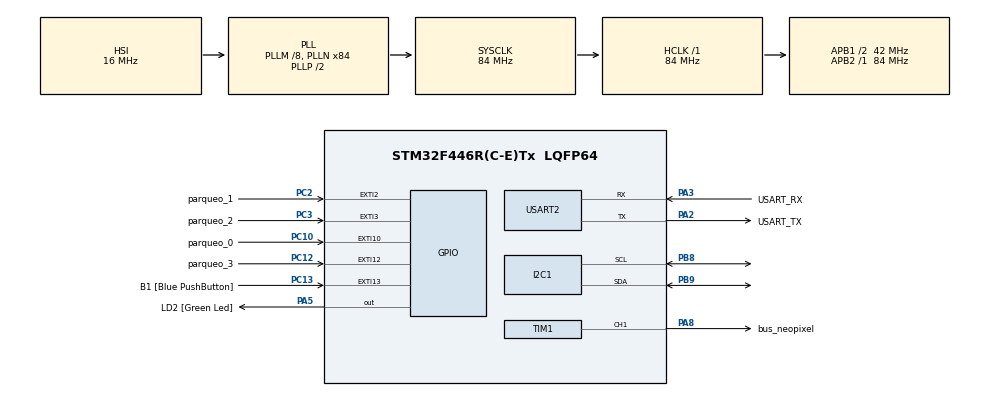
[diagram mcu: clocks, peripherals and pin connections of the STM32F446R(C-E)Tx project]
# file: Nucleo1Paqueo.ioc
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Dma.Request0=TIM1_CH1
Dma.TIM1_CH1.0.Direction=DMA_MEMORY_TO_PERIPH
Dma.TIM1_CH1.0.FIFOMode=DMA_FIFOMODE_DISABLE
Dma.TIM1_CH1.0.Instance=DMA2_Stream1
Dma.TIM1_CH1.0.MemDataAlignment=DMA_MDATAALIGN_HALFWORD
Dma.TIM1_CH1.0.MemInc=DMA_MINC_ENABLE
Dma.TIM1_CH1.0.Mode=DMA_NORMAL
Dma.TIM1_CH1.0.PeriphDataAlignment=DMA_PDATAALIGN_HALFWORD
Dma.TIM1_CH1.0.PeriphInc=DMA_PINC_DISABLE
Dma.TIM1_CH1.0.Priority=DMA_PRIORITY_LOW
I2C1.DualAddressMode=I2C_DUALADDRESS_DISABLE
I2C1.OwnAddress=0x18
IWDG.Prescaler=IWDG_PRESCALER_64
Mcu.Family=STM32F4
Mcu.Name=STM32F446R(C-E)Tx
Mcu.Package=LQFP64
NVIC.DMA2_Stream1_IRQn=true\:0\:0\:false\:false\:true\:false\:true\:true
NVIC.EXTI15_10_IRQn=true\:0\:0\:false\:false\:true\:true\:true\:true
NVIC.EXTI2_IRQn=true\:0\:0\:false\:false\:true\:true\:true\:true
NVIC.EXTI3_IRQn=true\:0\:0\:false\:false\:true\:true\:true\:true
NVIC.I2C1_ER_IRQn=true\:0\:0\:false\:false\:true\:true\:true\:true
NVIC.I2C1_EV_IRQn=true\:0\:0\:false\:false\:true\:true\:true\:true
NVIC.PriorityGroup=NVIC_PRIORITYGROUP_0
PA13.GPIO_Label=TMS
PA13.Mode=Serial_Wire
PA13.Signal=SYS_JTMS-SWDIO
PA14.GPIO_Label=TCK
PA14.Mode=Serial_Wire
PA14.Signal=SYS_JTCK-SWCLK
PA2.GPIO_Label=USART_TX
PA2.Mode=Asynchronous
PA2.Signal=USART2_TX
PA3.GPIO_Label=USART_RX
PA3.Mode=Asynchronous
PA3.Signal=USART2_RX
PA5.GPIO_Label=LD2 [Green Led]
PA5.Signal=GPIO_Output
PA8.GPIO_Label=bus_neopixel
PA8.Signal=S_TIM1_CH1
PB3.GPIO_Label=SWO
PB3.Signal=SYS_JTDO-SWO
PB8.GPIO_Pu=GPIO_NOPULL
PB8.Mode=I2C
PB8.Signal=I2C1_SCL
PB9.GPIO_Pu=GPIO_NOPULL
PB9.Mode=I2C
PB9.Signal=I2C1_SDA
PC10.GPIO_Label=parqueo_0
PC10.GPIO_ModeDefaultEXTI=GPIO_MODE_IT_RISING_FALLING
PC10.Signal=GPXTI10
PC12.GPIO_Label=parqueo_3
PC12.GPIO_ModeDefaultEXTI=GPIO_MODE_IT_RISING_FALLING
PC12.Signal=GPXTI12
PC13.GPIO_Label=B1 [Blue PushButton]
PC13.GPIO_ModeDefaultEXTI=GPIO_MODE_IT_FALLING
PC13.Signal=GPXTI13
PC14-OSC32_IN.Mode=LSE-External-Oscillator
PC14-OSC32_IN.Signal=RCC_OSC32_IN
PC15-OSC32_OUT.Mode=LSE-External-Oscillator
PC15-OSC32_OUT.Signal=RCC_OSC32_OUT
PC2.GPIO_Label=parqueo_1
PC2.GPIO_ModeDefaultEXTI=GPIO_MODE_IT_RISING_FALLING
PC2.Signal=GPXTI2
PC3.GPIO_Label=parqueo_2
PC3.GPIO_ModeDefaultEXTI=GPIO_MODE_IT_RISING_FALLING
PC3.Signal=GPXTI3
PH0-OSC_IN.Mode=HSE-External-Oscillator
PH0-OSC_IN.Signal=RCC_OSC_IN
PH1-OSC_OUT.Mode=HSE-External-Oscillator
PH1-OSC_OUT.Signal=RCC_OSC_OUT
ProjectManager.HeapSize=0x200
ProjectManager.StackSize=0x400
ProjectManager.TargetToolchain=STM32CubeIDE
RCC.48MHZClocksFreq_Value=84000000
RCC.AHBFreq_Value=84000000
RCC.APB1CLKDivider=RCC_HCLK_DIV2
RCC.APB1Freq_Value=42000000
RCC.APB1TimFreq_Value=84000000
RCC.APB2Freq_Value=84000000
RCC.APB2TimFreq_Value=84000000
RCC.CortexFreq_Value=84000000
RCC.FLatency-AdvancedSettings=FLASH_LATENCY_2
RCC.HCLKFreq_Value=84000000
RCC.HSE_VALUE=8000000
RCC.HSI_VALUE=16000000
RCC.PLLM=8
RCC.PLLN=84
RCC.SYSCLKFreq_VALUE=84000000
RCC.SYSCLKSource=RCC_SYSCLKSOURCE_PLLCLK
RCC.USBFreq_Value=84000000
RCC.VCOOutputFreq_Value=168000000
SH.S_TIM1_CH1.0=TIM1_CH1,PWM Generation1 CH1
TIM1.Channel-PWM\ Generation1\ CH1=TIM_CHANNEL_1
TIM1.Period=104
USART2.VirtualMode=VM_ASYNC
VP_IWDG_VS_IWDG.Mode=IWDG_Activate
VP_TIM1_VS_ClockSourceINT.Mode=Internal
board=NUCLEO-F446RE

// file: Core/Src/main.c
/* USER CODE BEGIN Header */
	/**
	  ******************************************************************************
	  * @file           : main.c
	  * @brief          : Main program body
	  ******************************************************************************
	  * @attention
	  *
	  * Copyright (c) 2026 STMicroelectronics.
	  * All rights reserved.
	  *
	  * This software is licensed under terms that can be found in the LICENSE file
	  * in the root directory of this software component.
	  * If no LICENSE file comes with this software, it is provided AS-IS.
	  *
	  ******************************************************************************
	  */
/* USER CODE END Header */
#include "main.h"

/* USER CODE BEGIN Includes */
#include "NeoPixel.h"
#include <string.h>

/* USER CODE END Includes */

/* USER CODE BEGIN PD */
#define TXbuffersize 4
#define RXbuffersize 4
#define I2C_TIMEOUT_MS 5000
/* USER CODE END PD */

I2C_HandleTypeDef hi2c1;

IWDG_HandleTypeDef hiwdg;

TIM_HandleTypeDef htim1;
DMA_HandleTypeDef hdma_tim1_ch1;

UART_HandleTypeDef huart2;

/* USER CODE BEGIN PV */
//Variables de Neopixeles
float brillo_led;
volatile uint8_t flagSensor=0;
volatile uint8_t flagSensor_ESP32=0;
uint8_t RGB1[3];
uint8_t RGB2[3];
uint8_t RGB3[3];
uint8_t RGB4[3];

//Variables de I2C
int count=0;
uint8_t aTxBuffer[TXbuffersize];
uint8_t aRxBuffer[RXbuffersize];
//Variables de watchdog timmer para reiniciar comunicacion I2C
volatile uint32_t i2c_last_activity = 0;
volatile uint8_t i2c_error_flag = 0;

/* USER CODE END PV */

void SystemClock_Config(void);
static void MX_GPIO_Init(void);
static void MX_DMA_Init(void);
static void MX_USART2_UART_Init(void);
static void MX_I2C1_Init(void);
static void MX_TIM1_Init(void);
static void MX_IWDG_Init(void);
/* USER CODE BEGIN PFP */
void update_neopixels();
void update_colors(uint8_t flagSensor, uint8_t RGB[2],uint8_t compare);
void update_park(uint8_t flagSensor);
/* USER CODE END PFP */

/* USER CODE BEGIN 0 */

//Funcion que actualiza los neopixeles a utilizar (si se añade otro neopixel crear una nueva lista,
//modificar el valor en la libreria y agregarlo acá.
void update_neopixels(){
	pixelClear();
	setPixelColor(0, RGB1[0], RGB1[1],RGB1[2]);
	setPixelColor(1, RGB2[0], RGB2[1],RGB2[2]);
	setPixelColor(2, RGB3[0], RGB3[1],RGB3[2]);
	setPixelColor(3, RGB4[0], RGB4[1],RGB4[2]);
	setBrightness(70);
	pixelShow();
}
/*
//Esta funcion es para facilitar el cambio de color en base a flags
void update_colors(uint8_t flagSensor, uint8_t RGB[3],uint8_t compare){
	if ((flagSensor & compare) == compare){
		  RGB[1]=0;
		  RGB[0]=255;
	  }
	  else if ((flagSensor & (compare<<4)) == (compare<<4)){
		  RGB[0]=0;
		  RGB[1]=255;
	  }
}

void update_park(uint8_t flagSensor){
	update_colors(flagSensor, RGB1,0x01);
	update_colors(flagSensor, RGB2,0x02);
	update_colors(flagSensor, RGB3,0x04);
	update_colors(flagSensor, RGB4,0x08);
}*/
/* USER CODE END 0 */

int main(void)
{

  /* USER CODE BEGIN 1 */
		// Forzar reset completo del I2C1 antes de inicializar

  /* USER CODE END 1 */

  /* MCU Configuration--------------------------------------------------------*/

  /* Reset of all peripherals, Initializes the Flash interface and the Systick. */
  HAL_Init();

  /* Configure the system clock */
  SystemClock_Config();

  /* Initialize all configured peripherals */
  MX_GPIO_Init();
  MX_DMA_Init();
  MX_USART2_UART_Init();
  MX_I2C1_Init();
  MX_TIM1_Init();
  MX_IWDG_Init();
  /* USER CODE BEGIN 2 */
  // Detectar si el reset fue causado por el IWDG
  if (__HAL_RCC_GET_FLAG(RCC_FLAG_IWDGRST)){
      __HAL_RCC_CLEAR_RESET_FLAGS();
      HAL_UART_Transmit(&huart2,
          (uint8_t*)"Reset por IWDG - I2C recuperado\r\n", 33, 100);
  }

  RGB1[1]=255;
  RGB2[1]=255;
  RGB3[1]=255;
  RGB4[1]=255;

  if (HAL_I2C_EnableListen_IT(&hi2c1) != HAL_OK){
	  Error_Handler();
  }

  update_neopixels();
  //HAL_GPIO_TogglePin(GPIOC, GPIO_PIN_12);
  //HAL_GPIO_TogglePin(GPIOC, GPIO_PIN_3);
  HAL_UART_Transmit(&huart2, (uint8_t*)"Estoy vivo\r\n", 12, 100);
  /* USER CODE END 2 */

  /* Infinite loop */
  /* USER CODE BEGIN WHILE */
  while (1)
  {

	  // Alimentar el IWDG — si el programa se congela,
	  // esto deja de ejecutarse y el IWDG resetea la Nucleo
	  HAL_IWDG_Refresh(&hiwdg);

	  // Si hay un error en el i2c reinciara y se ejecutara esta instrucción.
	  if (i2c_error_flag){
		  i2c_error_flag = 0;
		  // Azul = error detectado
		  RGB1[2]=255; RGB1[0]=0; RGB1[1]=0;
		  RGB2[2]=255; RGB2[0]=0; RGB2[1]=0;
		  RGB3[2]=255; RGB3[0]=0; RGB3[1]=0;
		  RGB4[2]=255; RGB4[0]=0; RGB4[1]=0;
		  update_neopixels();
		  HAL_Delay(500);
		  // Volver a verde
		  RGB1[2]=0; RGB1[1]=255; RGB1[0]=0;
		  RGB2[2]=0; RGB2[1]=255; RGB2[0]=0;
		  RGB3[2]=0; RGB3[1]=255; RGB3[0]=0;
		  RGB4[2]=0; RGB4[1]=255; RGB4[0]=0;
		  update_neopixels();
		  HAL_UART_Transmit(&huart2,
				(uint8_t*)"I2C Error recuperado\r\n", 22, 100);
		}

	  //Actualizar los colores de los neopixeles.
	  update_park(flagSensor);
	  if (flagSensor != 0){
		update_neopixels();
		flagSensor=0;
	  }

	  // Watchdog I2C Segunda contramedida para revivir comunicacion I2C
	  if (i2c_last_activity != 0 &&
	     (HAL_GetTick() - i2c_last_activity) > I2C_TIMEOUT_MS){
		  HAL_UART_Transmit(&huart2, (uint8_t*)"Watchdog I2C activado\r\n", 23, 100);
		  i2c_last_activity = HAL_GetTick();
		  // Reiniciar el I2C si lleva más de 5s sin actividad
		  HAL_I2C_DeInit(&hi2c1);
		  HAL_Delay(10);
		  HAL_I2C_Init(&hi2c1);
		  HAL_I2C_EnableListen_IT(&hi2c1);
	  }

	  HAL_Delay(10);
    /* USER CODE END WHILE */

  }
}

void SystemClock_Config(void)
{
  RCC_OscInitTypeDef RCC_OscInitStruct = {0};
  RCC_ClkInitTypeDef RCC_ClkInitStruct = {0};

  /** Configure the main internal regulator output voltage
  */
  __HAL_RCC_PWR_CLK_ENABLE();
  __HAL_PWR_VOLTAGESCALING_CONFIG(PWR_REGULATOR_VOLTAGE_SCALE3);

  /** Initializes the RCC Oscillators according to the specified parameters
  * in the RCC_OscInitTypeDef structure.
  */
  RCC_OscInitStruct.OscillatorType = RCC_OSCILLATORTYPE_HSI|RCC_OSCILLATORTYPE_LSI;
  RCC_OscInitStruct.HSIState = RCC_HSI_ON;
  RCC_OscInitStruct.HSICalibrationValue = RCC_HSICALIBRATION_DEFAULT;
  RCC_OscInitStruct.LSIState = RCC_LSI_ON;
  RCC_OscInitStruct.PLL.PLLState = RCC_PLL_ON;
  RCC_OscInitStruct.PLL.PLLSource = RCC_PLLSOURCE_HSI;
  RCC_OscInitStruct.PLL.PLLM = 8;
  RCC_OscInitStruct.PLL.PLLN = 84;
  RCC_OscInitStruct.PLL.PLLP = RCC_PLLP_DIV2;
  RCC_OscInitStruct.PLL.PLLQ = 2;
  RCC_OscInitStruct.PLL.PLLR = 2;
  if (HAL_RCC_OscConfig(&RCC_OscInitStruct) != HAL_OK)
  {
    Error_Handler();
  }

  /** Initializes the CPU, AHB and APB buses clocks
  */
  RCC_ClkInitStruct.ClockType = RCC_CLOCKTYPE_HCLK|RCC_CLOCKTYPE_SYSCLK
                              |RCC_CLOCKTYPE_PCLK1|RCC_CLOCKTYPE_PCLK2;
  RCC_ClkInitStruct.SYSCLKSource = RCC_SYSCLKSOURCE_PLLCLK;
  RCC_ClkInitStruct.AHBCLKDivider = RCC_SYSCLK_DIV1;
  RCC_ClkInitStruct.APB1CLKDivider = RCC_HCLK_DIV2;
  RCC_ClkInitStruct.APB2CLKDivider = RCC_HCLK_DIV1;

  if (HAL_RCC_ClockConfig(&RCC_ClkInitStruct, FLASH_LATENCY_2) != HAL_OK)
  {
    Error_Handler();
  }
}

static void MX_I2C1_Init(void)
{

  /* USER CODE BEGIN I2C1_Init 1 */
  //Tercera contramedida para el SDA Y SCL low
	// Recuperación del bus: generar hasta 9 pulsos de SCL si SDA está en LOW
	GPIO_InitTypeDef GPIO_InitStruct = {0};

	// Configurar PB8 (SCL) y PB9 (SDA) como GPIO output temporalmente
	GPIO_InitStruct.Pin = GPIO_PIN_8 | GPIO_PIN_9;
	GPIO_InitStruct.Mode = GPIO_MODE_OUTPUT_OD;  // Open-drain igual que I2C
	GPIO_InitStruct.Pull = GPIO_NOPULL;
	GPIO_InitStruct.Speed = GPIO_SPEED_FREQ_LOW;
	HAL_GPIO_Init(GPIOB, &GPIO_InitStruct);

	HAL_GPIO_WritePin(GPIOB, GPIO_PIN_8, GPIO_PIN_SET);  // SCL high
	HAL_GPIO_WritePin(GPIOB, GPIO_PIN_9, GPIO_PIN_SET);  // SDA high

	// Si SDA está en LOW, generar pulsos de SCL
	if (HAL_GPIO_ReadPin(GPIOB, GPIO_PIN_9) == GPIO_PIN_RESET){
		for (int i = 0; i < 9; i++){
			HAL_GPIO_WritePin(GPIOB, GPIO_PIN_8, GPIO_PIN_RESET);
			HAL_Delay(1);
			HAL_GPIO_WritePin(GPIOB, GPIO_PIN_8, GPIO_PIN_SET);
			HAL_Delay(1);
		}
	}

	// Generar condición STOP manual
	HAL_GPIO_WritePin(GPIOB, GPIO_PIN_9, GPIO_PIN_RESET);
	HAL_Delay(1);
	HAL_GPIO_WritePin(GPIOB, GPIO_PIN_9, GPIO_PIN_SET);
	HAL_Delay(1);
  /* USER CODE END I2C1_Init 1 */
  hi2c1.Instance = I2C1;
  hi2c1.Init.ClockSpeed = 100000;
  hi2c1.Init.DutyCycle = I2C_DUTYCYCLE_2;
  hi2c1.Init.OwnAddress1 = 48;
  hi2c1.Init.AddressingMode = I2C_ADDRESSINGMODE_7BIT;
  hi2c1.Init.DualAddressMode = I2C_DUALADDRESS_DISABLE;
  hi2c1.Init.OwnAddress2 = 0;
  hi2c1.Init.GeneralCallMode = I2C_GENERALCALL_DISABLE;
  hi2c1.Init.NoStretchMode = I2C_NOSTRETCH_DISABLE;
  if (HAL_I2C_Init(&hi2c1) != HAL_OK)
  {
    Error_Handler();
  }

}

static void MX_IWDG_Init(void)
{

  hiwdg.Instance = IWDG;
  hiwdg.Init.Prescaler = IWDG_PRESCALER_64;
  hiwdg.Init.Reload = 4095;
  if (HAL_IWDG_Init(&hiwdg) != HAL_OK)
  {
    Error_Handler();
  }

}

static void MX_TIM1_Init(void)
{

  TIM_ClockConfigTypeDef sClockSourceConfig = {0};
  TIM_MasterConfigTypeDef sMasterConfig = {0};
  TIM_OC_InitTypeDef sConfigOC = {0};
  TIM_BreakDeadTimeConfigTypeDef sBreakDeadTimeConfig = {0};

  htim1.Instance = TIM1;
  htim1.Init.Prescaler = 0;
  htim1.Init.CounterMode = TIM_COUNTERMODE_UP;
  htim1.Init.Period = 104;
  htim1.Init.ClockDivision = TIM_CLOCKDIVISION_DIV1;
  htim1.Init.RepetitionCounter = 0;
  htim1.Init.AutoReloadPreload = TIM_AUTORELOAD_PRELOAD_DISABLE;
  if (HAL_TIM_Base_Init(&htim1) != HAL_OK)
  {
    Error_Handler();
  }
  sClockSourceConfig.ClockSource = TIM_CLOCKSOURCE_INTERNAL;
  if (HAL_TIM_ConfigClockSource(&htim1, &sClockSourceConfig) != HAL_OK)
  {
    Error_Handler();
  }
  if (HAL_TIM_PWM_Init(&htim1) != HAL_OK)
  {
    Error_Handler();
  }
  sMasterConfig.MasterOutputTrigger = TIM_TRGO_RESET;
  sMasterConfig.MasterSlaveMode = TIM_MASTERSLAVEMODE_DISABLE;
  if (HAL_TIMEx_MasterConfigSynchronization(&htim1, &sMasterConfig) != HAL_OK)
  {
    Error_Handler();
  }
  sConfigOC.OCMode = TIM_OCMODE_PWM1;
  sConfigOC.Pulse = 0;
  sConfigOC.OCPolarity = TIM_OCPOLARITY_HIGH;
  sConfigOC.OCNPolarity = TIM_OCNPOLARITY_HIGH;
  sConfigOC.OCFastMode = TIM_OCFAST_DISABLE;
  sConfigOC.OCIdleState = TIM_OCIDLESTATE_RESET;
  sConfigOC.OCNIdleState = TIM_OCNIDLESTATE_RESET;
  if (HAL_TIM_PWM_ConfigChannel(&htim1, &sConfigOC, TIM_CHANNEL_1) != HAL_OK)
  {
    Error_Handler();
  }
  sBreakDeadTimeConfig.OffStateRunMode = TIM_OSSR_DISABLE;
  sBreakDeadTimeConfig.OffStateIDLEMode = TIM_OSSI_DISABLE;
  sBreakDeadTimeConfig.LockLevel = TIM_LOCKLEVEL_OFF;
  sBreakDeadTimeConfig.DeadTime = 0;
  sBreakDeadTimeConfig.BreakState = TIM_BREAK_DISABLE;
  sBreakDeadTimeConfig.BreakPolarity = TIM_BREAKPOLARITY_HIGH;
  sBreakDeadTimeConfig.AutomaticOutput = TIM_AUTOMATICOUTPUT_DISABLE;
  if (HAL_TIMEx_ConfigBreakDeadTime(&htim1, &sBreakDeadTimeConfig) != HAL_OK)
  {
    Error_Handler();
  }
  HAL_TIM_MspPostInit(&htim1);

}

static void MX_USART2_UART_Init(void)
{

  huart2.Instance = USART2;
  huart2.Init.BaudRate = 115200;
  huart2.Init.WordLength = UART_WORDLENGTH_8B;
  huart2.Init.StopBits = UART_STOPBITS_1;
  huart2.Init.Parity = UART_PARITY_NONE;
  huart2.Init.Mode = UART_MODE_TX_RX;
  huart2.Init.HwFlowCtl = UART_HWCONTROL_NONE;
  huart2.Init.OverSampling = UART_OVERSAMPLING_16;
  if (HAL_UART_Init(&huart2) != HAL_OK)
  {
    Error_Handler();
  }

}

static void MX_DMA_Init(void)
{

  /* DMA controller clock enable */
  __HAL_RCC_DMA2_CLK_ENABLE();

  /* DMA interrupt init */
  /* DMA2_Stream1_IRQn interrupt configuration */
  HAL_NVIC_SetPriority(DMA2_Stream1_IRQn, 0, 0);
  HAL_NVIC_EnableIRQ(DMA2_Stream1_IRQn);

}

static void MX_GPIO_Init(void)
{
  GPIO_InitTypeDef GPIO_InitStruct = {0};

  /* GPIO Ports Clock Enable */
  __HAL_RCC_GPIOC_CLK_ENABLE();
  __HAL_RCC_GPIOH_CLK_ENABLE();
  __HAL_RCC_GPIOA_CLK_ENABLE();
  __HAL_RCC_GPIOB_CLK_ENABLE();

  /*Configure GPIO pin Output Level */
  HAL_GPIO_WritePin(LD2_GPIO_Port, LD2_Pin, GPIO_PIN_RESET);

  /*Configure GPIO pin : B1_Pin */
  GPIO_InitStruct.Pin = B1_Pin;
  GPIO_InitStruct.Mode = GPIO_MODE_IT_FALLING;
  GPIO_InitStruct.Pull = GPIO_NOPULL;
  HAL_GPIO_Init(B1_GPIO_Port, &GPIO_InitStruct);

  /*Configure GPIO pins : parqueo_1_Pin parqueo_2_Pin parqueo_0_Pin parqueo_3_Pin */
  GPIO_InitStruct.Pin = parqueo_1_Pin|parqueo_2_Pin|parqueo_0_Pin|parqueo_3_Pin;
  GPIO_InitStruct.Mode = GPIO_MODE_IT_RISING_FALLING;
  GPIO_InitStruct.Pull = GPIO_NOPULL;
  HAL_GPIO_Init(GPIOC, &GPIO_InitStruct);

  /*Configure GPIO pin : LD2_Pin */
  GPIO_InitStruct.Pin = LD2_Pin;
  GPIO_InitStruct.Mode = GPIO_MODE_OUTPUT_PP;
  GPIO_InitStruct.Pull = GPIO_NOPULL;
  GPIO_InitStruct.Speed = GPIO_SPEED_FREQ_LOW;
  HAL_GPIO_Init(LD2_GPIO_Port, &GPIO_InitStruct);

  /* EXTI interrupt init*/
  HAL_NVIC_SetPriority(EXTI2_IRQn, 0, 0);
  HAL_NVIC_EnableIRQ(EXTI2_IRQn);

  HAL_NVIC_SetPriority(EXTI3_IRQn, 0, 0);
  HAL_NVIC_EnableIRQ(EXTI3_IRQn);

  HAL_NVIC_SetPriority(EXTI15_10_IRQn, 0, 0);
  HAL_NVIC_EnableIRQ(EXTI15_10_IRQn);

}

/* USER CODE BEGIN 4 */
void HAL_GPIO_EXTI_Callback(uint16_t GPIO_Pin)
{
	if (GPIO_Pin == GPIO_PIN_10)
	{
		if (HAL_GPIO_ReadPin(GPIOC, GPIO_PIN_10) == GPIO_PIN_RESET)
		{
			//HAL_GPIO_TogglePin(GPIOC, GPIO_PIN_12);
			flagSensor|= 0x01;
		}
		else {
			 //HAL_GPIO_TogglePin(GPIOC, GPIO_PIN_12);
			 flagSensor|=0x10;
		}
	}

	if (GPIO_Pin == GPIO_PIN_12)
	{
		if (HAL_GPIO_ReadPin(GPIOC, GPIO_PIN_12) == GPIO_PIN_RESET)
		{
			//HAL_GPIO_TogglePin(GPIOC, GPIO_PIN_3);
			flagSensor|= 0x04;
		}
		else {
			 //HAL_GPIO_TogglePin(GPIOC, GPIO_PIN_3);
			 flagSensor|=(0x40);
		}
	}

	if (GPIO_Pin == GPIO_PIN_3)
		{
			if (HAL_GPIO_ReadPin(GPIOC, GPIO_PIN_3) == GPIO_PIN_RESET)
			{
				//HAL_GPIO_TogglePin(GPIOC, GPIO_PIN_12);
				flagSensor|= 0x08;
			}
			else {
				//HAL_GPIO_TogglePin(GPIOC, GPIO_PIN_12);
				flagSensor|= 0x80;
			}
		}
	if (GPIO_Pin == GPIO_PIN_2)
		{
			if (HAL_GPIO_ReadPin(GPIOC, GPIO_PIN_2) == GPIO_PIN_RESET)
			{
				//HAL_GPIO_TogglePin(GPIOC, GPIO_PIN_12);
				flagSensor|= 0x02;
			}
			else {
				 //HAL_GPIO_TogglePin(GPIOC, GPIO_PIN_12);
				 flagSensor|= 0x20;
			}
		}
	flagSensor_ESP32 |= (flagSensor & 0x0F);
	flagSensor_ESP32 &= ~(flagSensor>>4);
}

void HAL_I2C_ListenCpltCallback(I2C_HandleTypeDef *hi2c){
	HAL_I2C_EnableListen_IT(hi2c);
}

void HAL_I2C_AddrCallback(I2C_HandleTypeDef *hi2c, uint8_t TransferDirection, uint16_t AddrMatchCode){
	//Cuando el maestro quiere transmitir y el slave recibe
	if (TransferDirection == I2C_DIRECTION_TRANSMIT){
		if (HAL_I2C_Slave_Seq_Receive_IT(&hi2c1, (uint8_t*) aRxBuffer,1, I2C_FIRST_AND_LAST_FRAME) != HAL_OK )
		{
			Error_Handler();
		}
	}
	//Cuando el maestro quiere recebir y el slave transmite
	else if(TransferDirection == I2C_DIRECTION_RECEIVE) {
		if (HAL_I2C_Slave_Seq_Transmit_IT(&hi2c1, &aTxBuffer[0],1, I2C_FIRST_AND_LAST_FRAME) != HAL_OK )
			{
				Error_Handler();
			}
	}
}

void HAL_I2C_SlaveRxCpltCallback(I2C_HandleTypeDef *I2cHandle){
	i2c_last_activity = HAL_GetTick(); //Actualizar timestamp

	if (aRxBuffer[0]==83) //ASCII 83='S'
	{
		HAL_GPIO_TogglePin(LD2_GPIO_Port,LD2_Pin);

	}
	aRxBuffer[0]=0x00;
}

void HAL_I2C_SlaveTxCpltCallback(I2C_HandleTypeDef *I2cHandle){
	 i2c_last_activity = HAL_GetTick();  // actualizar timestamp también aquí
	 aTxBuffer[0] = flagSensor_ESP32;
}

void HAL_I2C_ErrorCallback(I2C_HandleTypeDef *I2cHandle){

	if (HAL_I2C_GetError(I2cHandle) == HAL_I2C_ERROR_AF){
		// Error normal, re-habilitar escucha
		HAL_I2C_EnableListen_IT(I2cHandle);
	} else {

		//Primera contramedida para revivir el bus de I2C
		// Error grave — resetear el periférico SIN delays
		HAL_I2C_DeInit(I2cHandle);
		HAL_I2C_Init(I2cHandle);
		// 2. Re-habilitar escucha
		HAL_I2C_EnableListen_IT(I2cHandle);
		 i2c_error_flag = 1;
		// 3. Señal visual de que hubo error pero se recuperó
	}

}
/* USER CODE END 4 */

void Error_Handler(void)
{
	  __disable_irq();
	  while (1)
	  {
	  }
}
